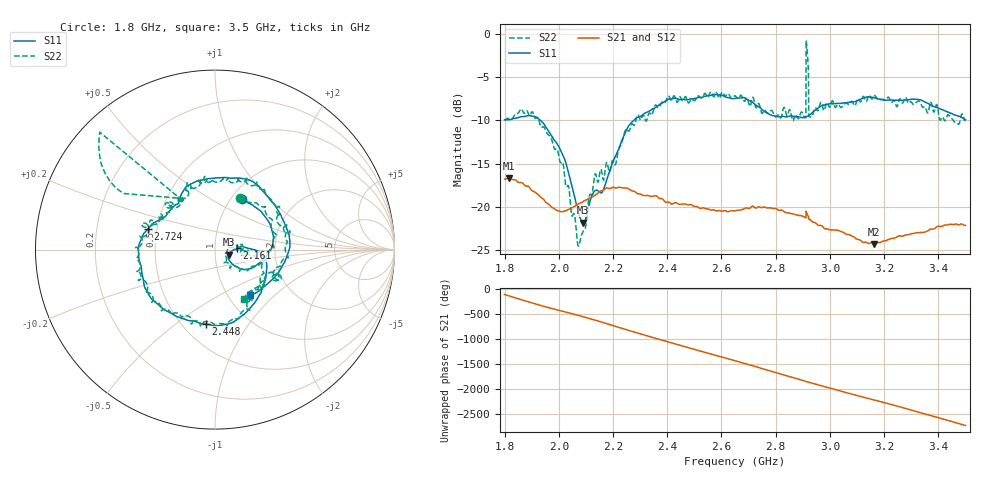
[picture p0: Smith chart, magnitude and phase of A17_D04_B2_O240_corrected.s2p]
! Created with skrf 1.9.0 (http://scikit-rf.org).
# Hz S RI R 50.0
!freq ReS11 ImS11 ReS21 ImS21 ReS12 ImS12 ReS22 ImS22
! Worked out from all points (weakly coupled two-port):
!   1601 points, 1.8 GHz to 3.5 GHz, reference 50 ohm
!   highest |S21| = -16.70 dB at 1.816 GHz (marker M1); lowest = -24.3 dB at 3.163 GHz (marker M2)
!   lowest |S11| = -21.8 dB at 2.09 GHz (marker M3), VSWR 1.18, Z = 58.1 - j3.34 ohm
!   |S11| at or under -10 dB: 1.933 GHz to 2.276 GHz (342.9 MHz wide, 16.3 % of centre)
!   |S22| runs from -24.5 to -0.8 dB; largest |S21 - S12| = 0.0024
!   S11 on the Smith chart (normalised r, x): 1.8 GHz: 1.13, +0.70; 2.161 GHz: 1.28, +0.02; 2.448 GHz: 0.65, -0.65; 2.724 GHz: 0.45, +0.12; 3.5 GHz: 1.26, -0.71
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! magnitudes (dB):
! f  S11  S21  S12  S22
! 1.8 GHz  -9.9  -16.8  -16.8  -10.0
! 1.816 GHz  -9.9  -16.7  -16.7  -9.8
! 1.902 GHz  -9.5  -18.1  -18.1  -9.0
! 1.967 GHz  -11.5  -19.8  -19.8  -11.8
! 2.014 GHz  -13.9  -20.5  -20.5  -14.8
! 2.071 GHz  -20.5  -19.7  -19.7  -24.5
! 2.084 GHz  -21.6  -19.5  -19.4  -23.2
! 2.09 GHz  -21.8  -19.4  -19.4  -22.8
! 2.131 GHz  -18.2  -18.7  -18.7  -16.4
! 2.161 GHz  -18.2  -18.1  -18.0  -16.5
! 2.258 GHz  -10.6  -17.9  -17.9  -11.2
! 2.367 GHz  -8.3  -18.9  -18.9  -8.5
! 2.448 GHz  -7.6  -19.7  -19.7  -7.3
! 2.65 GHz  -7.4  -20.4  -20.4  -7.1
! 2.724 GHz  -8.2  -20.1  -20.1  -8.3
! 2.903 GHz  -9.7  -21.1  -21.1  -9.4
! 2.912 GHz  -9.6  -20.5  -20.5  -0.8
! 2.921 GHz  -9.4  -21.1  -21.1  -4.5
! 2.934 GHz  -9.1  -21.7  -21.6  -9.5
! 3.163 GHz  -7.3  -24.3  -24.2  -7.2
! 3.217 GHz  -7.6  -23.7  -23.7  -7.3
! 3.5 GHz  -9.9  -22.1  -22.1  -9.9
